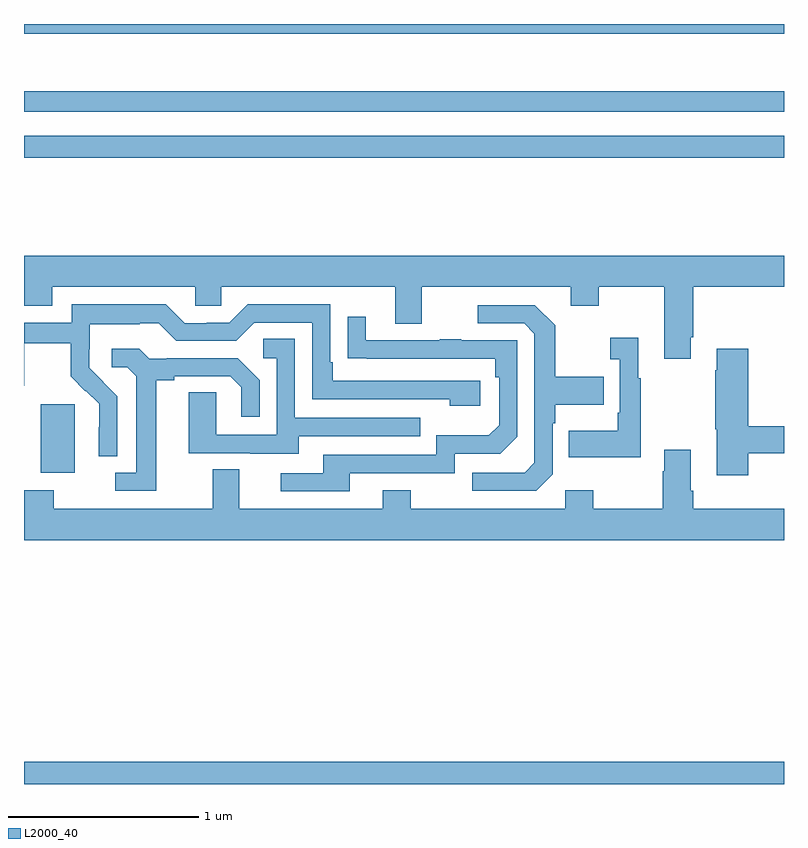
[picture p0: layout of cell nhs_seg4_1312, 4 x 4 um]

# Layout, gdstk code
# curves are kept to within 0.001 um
import gdstk
lib = gdstk.Library(unit=1e-6, precision=1e-09)
def R(c, l, rs):  # rectangles x0, y0, x1, y1
    for r in rs: c.add(gdstk.rectangle(r[:2], r[2:], *l))
def P(c, l, *ps):  # polygons
    for p in ps: c.add(gdstk.Polygon(p, *l))
L2000_40 = (2000, 40)

nhs_seg4_1312 = lib.new_cell('nhs_seg4_1312')
R(nhs_seg4_1312, L2000_40, [(179,764.9,183,765.016), (179.087,766.538,179.266,766.899), (179,768.196,183,768.312), (179,768.438,183,768.547), (179,768.848,183,768.9)])
P(nhs_seg4_1312, L2000_40, [(182.509,767.251),(182.522,767.251),(182.522,767.516),(183,767.516),(183,767.68),(179,767.68),(179,767.417),(179.149,767.417),(179.149,767.516),(179.901,767.516),(179.901,767.418),(180.039,767.418),(180.039,767.516),(180.953,767.516),(180.953,767.322),(181.093,767.322),(181.093,767.516),(181.877,767.516),(181.877,767.417),(182.025,767.417),(182.025,767.516),(182.369,767.516),(182.369,767.139),(182.509,767.139)],
  [(179.49,766.942),(179.344,767.09),(179.344,767.187),(179.346,767.187),(179.346,767.321),(179.609,767.321),(179.609,767.325),(179.709,767.325),(179.802,767.232),(180.117,767.232),(180.213,767.328),(180.516,767.328),(180.516,766.926),(181.241,766.926),(181.241,766.892),(181.402,766.892),(181.402,767.022),(180.625,767.022),(180.625,767.119),(180.612,767.119),(180.612,767.424),(180.177,767.424),(180.081,767.328),(179.963,767.328),(179.963,767.325),(179.847,767.325),(179.747,767.425),(179.25,767.425),(179.25,767.328),(179,767.328),(179,766.996),(179.001,767.22),(179.245,767.22),(179.245,767.045),(179.322,766.968),(179.325,766.971),(179.396,766.901),(179.396,766.778),(179.394,766.778),(179.394,766.624),(179.49,766.624)],
  [(181.782,766.53),(181.782,766.799),(181.795,766.799),(181.795,766.895),(182.051,766.895),(182.051,767.043),(181.795,767.043),(181.795,767.315),(181.689,767.421),(181.389,767.421),(181.389,767.325),(181.632,767.325),(181.686,767.271),(181.686,766.59),(181.635,766.539),(181.359,766.539),(181.359,766.443),(181.695,766.443)],
  [(180.715,766.536),(181.266,766.536),(181.266,766.638),(181.506,766.638),(181.596,766.728),(181.596,767.235),(181.301,767.235),(181.301,767.24),(181.189,767.24),(181.189,767.235),(180.799,767.235),(180.799,767.359),(180.703,767.359),(180.703,767.14),(181.48,767.139),(181.48,767.042),(181.5,767.042),(181.5,766.788),(181.447,766.735),(181.17,766.735),(181.17,766.632),(180.575,766.632),(180.575,766.536),(180.351,766.536),(180.351,766.44),(180.715,766.44)],
  [(182.245,767.035),(182.233,767.035),(182.233,767.248),(182.085,767.248),(182.085,767.135),(182.136,767.135),(182.136,766.855),(182.124,766.855),(182.124,766.759),(181.867,766.759),(181.867,766.619),(182.245,766.619)],
  [(180.445,766.731),(181.085,766.731),(181.085,766.827),(180.426,766.827),(180.426,767.243),(180.258,767.243),(180.258,767.142),(180.33,767.142),(180.33,766.737),(180.012,766.737),(180.012,766.961),(179.867,766.961),(179.867,766.641),(180.191,766.641),(180.191,766.637),(180.445,766.637)],
  [(182.813,766.642),(183,766.642),(183,766.784),(182.813,766.784),(182.813,767.191),(182.645,767.191),(182.645,767.078),(182.638,767.078),(182.638,766.767),(182.645,766.767),(182.645,766.524),(182.813,766.524)],
  [(179.695,767.024),(179.791,767.024),(179.791,767.046),(180.086,767.046),(180.143,766.989),(180.143,766.833),(180.24,766.833),(180.24,767.026),(180.124,767.142),(179.752,767.142),(179.752,767.139),(179.658,767.139),(179.606,767.191),(179.463,767.191),(179.463,767.094),(179.544,767.094),(179.591,767.047),(179.591,766.539),(179.481,766.539),(179.481,766.443),(179.695,766.443)],
  [(183,766.348),(182.522,766.348),(182.522,766.444),(182.509,766.444),(182.509,766.66),(182.369,766.66),(182.369,766.547),(182.362,766.547),(182.362,766.348),(181.995,766.348),(181.995,766.447),(181.848,766.447),(181.848,766.348),(181.035,766.348),(181.035,766.447),(180.887,766.447),(180.887,766.348),(180.133,766.348),(180.133,766.556),(179.993,766.556),(179.993,766.348),(179.157,766.348),(179.157,766.447),(179,766.447),(179,766.184),(183,766.184)])

lib.write_gds('nhs_seg4_1312.gds')
